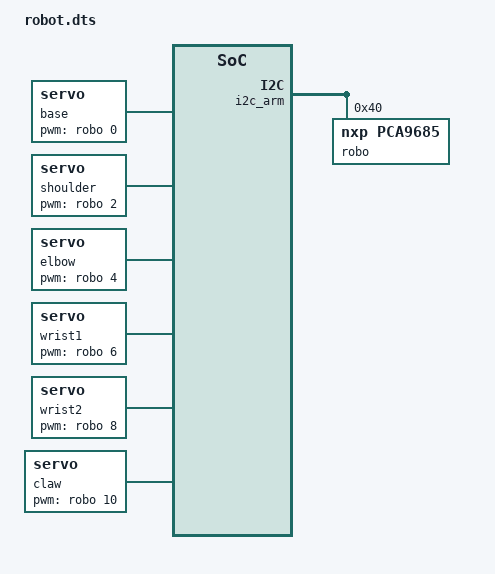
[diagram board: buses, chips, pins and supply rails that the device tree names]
// Definitions for NXP PCA9685A I2C PWM controller on ARM I2C bus.
/dts-v1/;
/plugin/;

/{
	fragment@0 {
		target = <&i2c_arm>;
		__overlay__ {
			#address-cells = <1>;
			#size-cells = <0>;
			status = "okay";

			robo: pca@40 {
				compatible = "nxp,pca9685";
				#pwm-cells = <2>;
				reg = <0x40>;
				status = "okay";
			};
		};
	};
	__overrides__ {
		addr = <&robo>,"reg:0";
	};
	fragment@1 {
        target-path = "/";
		__overlay__ {
			base { 
				pwms = <&robo 0 0x40>;
				compatible = "servo";
			};
			shoulder {
				pwms = <&robo 2 0x40>;
				compatible = "servo";
			};
			elbow {
				pwms = <&robo 4 0x40>;
				compatible = "servo";
			};
			wrist1 {
				pwms = <&robo 6 0x40>;
				compatible = "servo";
			};
			wrist2 {
				pwms = <&robo 8 0x40>;
				compatible = "servo";
			};
			claw {
				pwms = <&robo 10 0x40>;
				compatible = "servo";
			};
		};
	};
};
